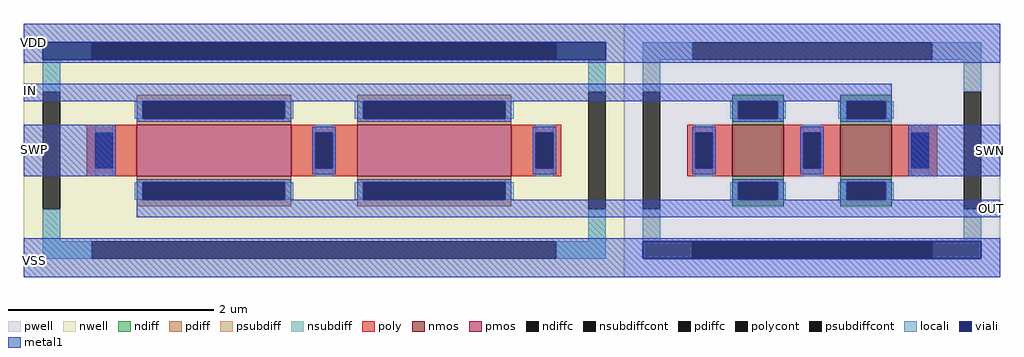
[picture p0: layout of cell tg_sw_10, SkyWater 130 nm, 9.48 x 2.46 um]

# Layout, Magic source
magic
tech sky130A
magscale 1 2
<< viali >>
rect -17 369 1077 403
rect 1149 -17 1807 17
<< metal1 >>
rect -53 403 1843 439
rect -53 369 -17 403
rect 1077 369 1843 403
rect -53 363 1843 369
rect -53 289 1633 323
rect -53 143 125 243
rect 1665 143 1843 243
rect 166 63 1843 97
rect -53 17 1843 23
rect -53 -17 1149 17
rect 1807 -17 1843 17
rect -53 -53 1843 -17
use sky130_fd_pr__pfet_01v8_SEQPU3  XM1
transform 0 1 530 -1 0 193
box -246 -583 246 583
use sky130_fd_pr__nfet_01v8_6AUVNX  XM2
transform 0 1 1478 -1 0 193
box -246 -365 246 365
<< labels >>
flabel metal1 -41 397 -30 409 0 FreeSans 400 0 0 0 VDD
port 0 nsew
flabel metal1 -38 -26 -27 -14 0 FreeSans 400 0 0 0 VSS
port 1 nsew
flabel metal1 -46 303 -35 315 0 FreeSans 400 0 0 0 IN
port 2 nsew
flabel metal1 -38 188 -27 200 0 FreeSans 400 0 0 0 SWP
port 3 nsew
flabel metal1 1819 187 1830 199 0 FreeSans 400 0 0 0 SWN
port 4 nsew
flabel metal1 1821 74 1832 86 0 FreeSans 400 0 0 0 OUT
port 6 nsew
<< end >>

# cell sky130_fd_pr__pfet_01v8_SEQPU3: kit device sky130_fd_pr__pfet_01v8, w 1.5 l 0.5 m 2 nf 1 diffcov 100 polycov 100 guard 1 glc 1 grc 1 gtc 1 gbc 1 tbcov 100 rlcov 100 topc 0 botc 0 poverlap 1 doverlap 1 lmin 0.15 wmin 0.42 compatible {sky130_fd_pr__pfet_01v8 sky130_fd_pr__pfet_01v8_lvt sky130_fd_pr__pfet_01v8_hvt sky130_fd_pr__pfet_g5v0d10v5} full_metal 1 viasrc 100 viadrn 100 viagate 100 viagb 0 viagr 0 viagl 0 viagt 0

# cell sky130_fd_pr__nfet_01v8_6AUVNX: kit device sky130_fd_pr__nfet_01v8, w 0.5 l 0.5 m 2 nf 1 diffcov 100 polycov 100 guard 1 glc 1 grc 1 gtc 1 gbc 1 tbcov 100 rlcov 100 topc 0 botc 0 poverlap 1 doverlap 1 lmin 0.15 wmin 0.42 compatible {sky130_fd_pr__nfet_01v8 sky130_fd_pr__nfet_01v8_lvt sky130_fd_bs_flash__special_sonosfet_star sky130_fd_pr__nfet_g5v0d10v5 sky130_fd_pr__nfet_05v0_nvt sky130_fd_pr__nfet_03v3_nvt} full_metal 1 viasrc 100 viadrn 100 viagate 100 viagb 0 viagr 0 viagl 0 viagt 0
